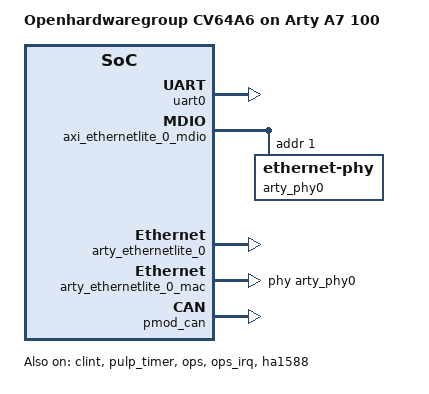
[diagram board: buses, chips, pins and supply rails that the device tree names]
/*
 * Copyright (c) 2023 by Rivos Inc.
 *
 * SPDX-License-Identifier: Apache-2.0
 */
/dts-v1/;

#include <openhwgroup/cv64a6.dtsi>

/ {
	model = "Openhardwaregroup CV64A6 on Arty A7 100";
	compatible = "ariane,cv64a6_arty_a7_100";

	chosen {
		zephyr,console = &uart0;
		zephyr,shell-uart = &uart0;
		zephyr,sram = &memory0;
		zephyr,entropy = &ops;
	};
};

// appx. 83 / 256 MiB of memory
&memory0 {
	reg = <0x80000000 0x4FFFFC0>;
};

&uart0 {
	status = "okay";
	interrupt-parent = <&plic>;
    interrupts = <9 0x4>;
};


&clint{
  status = "okay";
};

&dma0 {
	status = "disabled";
};

&pulp_timer {
	status = "okay";
	pulp,clock-period-ns = <40>;
};


&ops {
	status = "okay";
};

&ops_irq {
	status = "okay";
};


&cpu_0 {
	riscv,isa="rv64imac";
	clock-frequency = <25000000>;
};

&cpus {
	timebase-frequency = <12500000>;
};

&uart0 {
	clock-frequency = <25000000>;
};

&clk_cpu {
	clock-frequency = <25000000>;
};

&clk_bus_0 {
	clock-frequency = <25000000>;
};

&axi_ethernetlite_0_mdio{
	status = "okay";

	arty_phy0: phy@1 {
		#address-cells = <1>;
		#size-cells = <0>;
		compatible = "ethernet-phy";
		reg = <1>;
		status="okay";
    };
};

&arty_ethernetlite_0 {
	status = "okay";
};

&arty_ethernetlite_0_mac {
	phy-handle = <&arty_phy0>;
	status = "okay";
};

&ha1588 {
	// only 100 MHz on this SoC
	ha1588,period = <0x10 0x0>;
	status = "okay";
};

&pmod_can{
	status = "okay";
};
